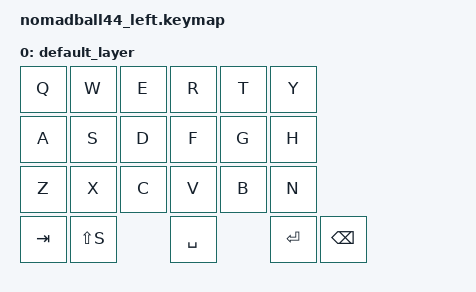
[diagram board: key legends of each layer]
/*
 * NomadBall44 Left - Default keymap (23 keys)
 */

#include <behaviors.dtsi>
#include <dt-bindings/zmk/keys.h>

/ {
	keymap {
		compatible = "zmk,keymap";

		default_layer {
			bindings = <
				&kp Q &kp W &kp E &kp R &kp T &kp Y
				&kp A &kp S &kp D &kp F &kp G &kp H
				&kp Z &kp X &kp C &kp V &kp B &kp N
				&kp TAB &kp LS(S) &kp SPACE &kp RET &kp BSPC
			>;
		};
	};
};
